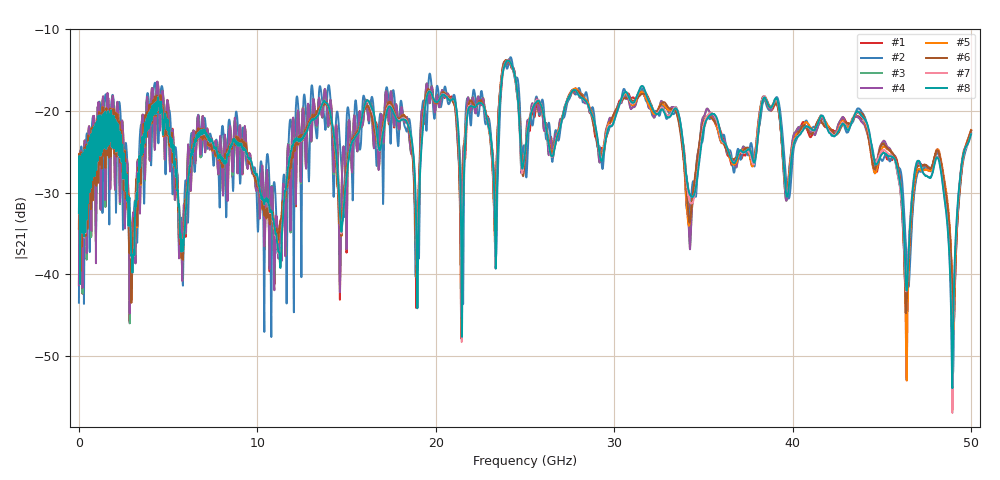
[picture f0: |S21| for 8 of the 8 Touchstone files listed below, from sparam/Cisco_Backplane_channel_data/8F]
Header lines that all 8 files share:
!Agilent Technologies,N5247A,US51170199,A.09.90.13
!Agilent N5247A: A.09.90.13
!Correction: S11(Full 4 Port(1,2,3,4))
!S12(Full 4 Port(1,2,3,4))
!S13(Full 4 Port(1,2,3,4))
!S14(Full 4 Port(1,2,3,4))
!S21(Full 4 Port(1,2,3,4))
!S22(Full 4 Port(1,2,3,4))
!S23(Full 4 Port(1,2,3,4))
!S24(Full 4 Port(1,2,3,4))
!S31(Full 4 Port(1,2,3,4))
!S32(Full 4 Port(1,2,3,4))
!S33(Full 4 Port(1,2,3,4))
!S34(Full 4 Port(1,2,3,4))
!S41(Full 4 Port(1,2,3,4))
!S42(Full 4 Port(1,2,3,4))
!S43(Full 4 Port(1,2,3,4))
!S44(Full 4 Port(1,2,3,4))
!S4P File: Measurements: <S11,S12,S13,S14>,
!<S21,S22,S23,S24>,
!<S31,S32,S33,S34>,
!<S41,S42,S43,S44>:
# Hz S  dB  R 50
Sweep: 10 MHz to 50 GHz
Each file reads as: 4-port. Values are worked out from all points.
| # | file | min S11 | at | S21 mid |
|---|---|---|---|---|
| 1 | Ch2_12_8F_f8.s4p | -52.0 dB | 23.66 GHz | -27.1 dB at 25 GHz |
| 2 | Ch4_20_8F_f2.s4p | -43.0 dB | 23.54 GHz | -25.6 dB at 25 GHz |
| 3 | Ch6_25_8F_f6.s4p | -46.4 dB | 31.58 GHz | -26.3 dB at 25 GHz |
| 4 | Ch6_25_8F_t.s4p | -46.5 dB | 31.58 GHz | -26.3 dB at 25 GHz |
| 5 | Ch8_30_8F_f5.s4p | -48.9 dB | 31.58 GHz | -25.4 dB at 25 GHz |
| 6 | Ch9_33_8F_f3.s4p | -44.4 dB | 88.11 MHz | -25.7 dB at 25 GHz |
| 7 | Ch10_35_8F_f1.s4p | -55.2 dB | 135 MHz | -25.0 dB at 25 GHz |
| 8 | Ch10_35_8F_t.s4p | -49.2 dB | 135 MHz | -25.2 dB at 25 GHz |
